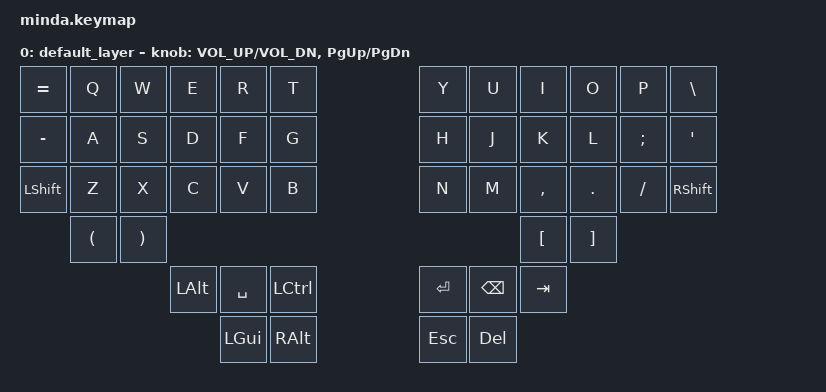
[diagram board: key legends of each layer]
/*
 * Copyright (c) 2020 The ZMK Contributors
 *
 * SPDX-License-Identifier: MIT
 */

#include <behaviors.dtsi>
#include <dt-bindings/zmk/keys.h>

/ {
    keymap {
        compatible = "zmk,keymap";

        default_layer {
// ---------------------------------------------------------------------------------------------------------------------------------
// |  ESC  |  Q  |  W  |  E   |  R   |  T   |                                          |  Y   |  U    |  I    |  O   |   P   |   \  |
// |  TAB  |  A  |  S  |  D   |  F   |  G   |                                          |  H   |  J    |  K    |  L   |   ;   |   '  |
// | SHIFT |  Z  |  X  |  C   |  V   |  B   | L SHIFT | L SHIFT |  | L SHIFT | L SHIFT |  N   |  M    |  ,    |  .   |   /   | CTRL |
//                     | GUI  | DEL  | RET  |  SPACE  |   ESC   |  |   RET   |  SPACE  | TAB  | BSPC  | R-ALT |
            bindings = <
    &kp EQUAL &kp Q &kp W &kp E &kp R &kp T                                                &kp Y &kp U  &kp I     &kp O   &kp P    &kp BSLH
    &kp MINUS &kp A &kp S &kp D &kp F &kp G                                                &kp H &kp J  &kp K     &kp L   &kp SEMI &kp SQT
    &kp LSHFT &kp Z &kp X &kp C &kp V &kp B        	                                       &kp N &kp M  &kp COMMA &kp DOT &kp FSLH &kp RSHFT
                &kp LPAR &kp RPAR                                                                     &kp LBKT &kp RBKT 
                             &kp LALT &kp SPACE &kp LCTRL                         &kp RET  &kp BSPC  &kp TAB
                                   &kp LGUI &kp RALT                                   &kp ESC &kp DEL
            >;

            sensor-bindings = <&inc_dec_kp C_VOL_UP C_VOL_DN &inc_dec_kp PG_UP PG_DN>;
        };
    };
};

